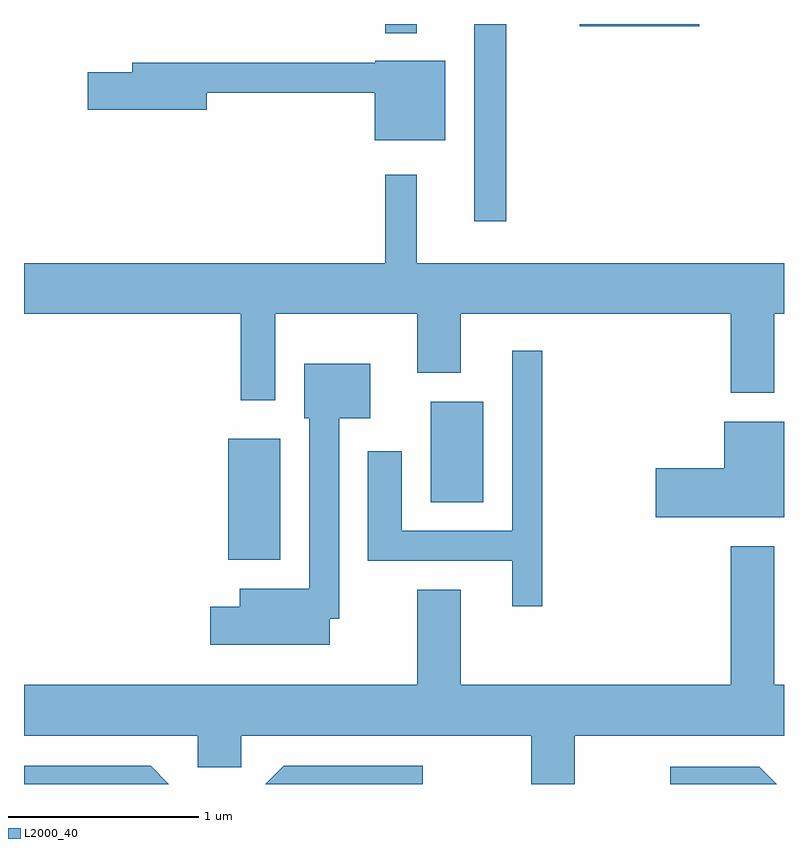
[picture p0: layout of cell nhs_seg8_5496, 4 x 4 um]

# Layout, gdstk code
import gdstk
lib = gdstk.Library(unit=1e-6, precision=1e-09)
def R(c, l, rs):  # rectangles x0, y0, x1, y1
    for r in rs: c.add(gdstk.rectangle(r[:2], r[2:], *l))
def P(c, l, *ps):  # polygons
    for p in ps: c.add(gdstk.Polygon(p, *l))
L2000_40 = (2000, 40)

nhs_seg8_5496 = lib.new_cell('nhs_seg8_5496')
R(nhs_seg8_5496, L2000_40, [(350.686,1879.521,350.959,1880.159), (351.751,1879.826,352.029,1880.354), (351.981,1881.303,352.149,1882.342), (351.511,1882.293,351.679,1882.342), (352.536,1882.331,353.164,1882.342)])
P(nhs_seg8_5496, L2000_40, [(351.829,1882.149),(351.46,1882.149),(351.46,1882.139),(350.181,1882.139),(350.181,1882.089),(349.946,1882.089),(349.946,1881.891),(350.574,1881.891),(350.574,1881.981),(351.456,1881.981),(351.456,1881.731),(351.829,1881.731)],
  [(350.934,1880.816),(351.681,1880.816),(351.681,1880.506),(351.909,1880.506),(351.909,1880.816),(353.331,1880.816),(353.331,1880.401),(353.559,1880.401),(353.559,1880.816),(353.611,1880.816),(353.611,1881.084),(351.679,1881.084),(351.679,1881.548),(351.511,1881.548),(351.511,1881.084),(349.611,1881.084),(349.611,1880.816),(350.751,1880.816),(350.751,1880.361),(350.934,1880.361)],
  [(352.339,1880.623),(352.181,1880.623),(352.181,1879.674),(351.599,1879.674),(351.599,1880.094),(351.421,1880.094),(351.421,1879.516),(352.181,1879.516),(352.181,1879.278),(352.339,1879.278)],
  [(351.219,1879.211),(351.269,1879.211),(351.269,1880.266),(351.434,1880.266),(351.434,1880.554),(351.086,1880.554),(351.086,1880.266),(351.111,1880.266),(351.111,1879.369),(350.746,1879.369),(350.746,1879.274),(350.591,1879.274),(350.591,1879.076),(351.219,1879.076)],
  [(353.611,1880.249),(353.296,1880.249),(353.296,1880.004),(352.936,1880.004),(352.936,1879.746),(353.611,1879.746)],
  [(352.509,1878.596),(353.611,1878.596),(353.611,1878.864),(353.559,1878.864),(353.559,1879.594),(353.331,1879.594),(353.331,1878.864),(351.909,1878.864),(351.909,1879.364),(351.681,1879.364),(351.681,1878.864),(349.611,1878.864),(349.611,1878.596),(350.526,1878.596),(350.526,1878.431),(350.754,1878.431),(350.754,1878.596),(352.281,1878.596),(352.281,1878.342),(352.509,1878.342)],
  [(351.709,1878.439),(350.979,1878.439),(350.882,1878.342),(351.709,1878.342)],
  [(350.277,1878.439),(349.611,1878.439),(349.611,1878.342),(350.374,1878.342)],
  [(353.482,1878.434),(353.013,1878.434),(353.013,1878.342),(353.574,1878.342)])

lib.write_gds('nhs_seg8_5496.gds')
